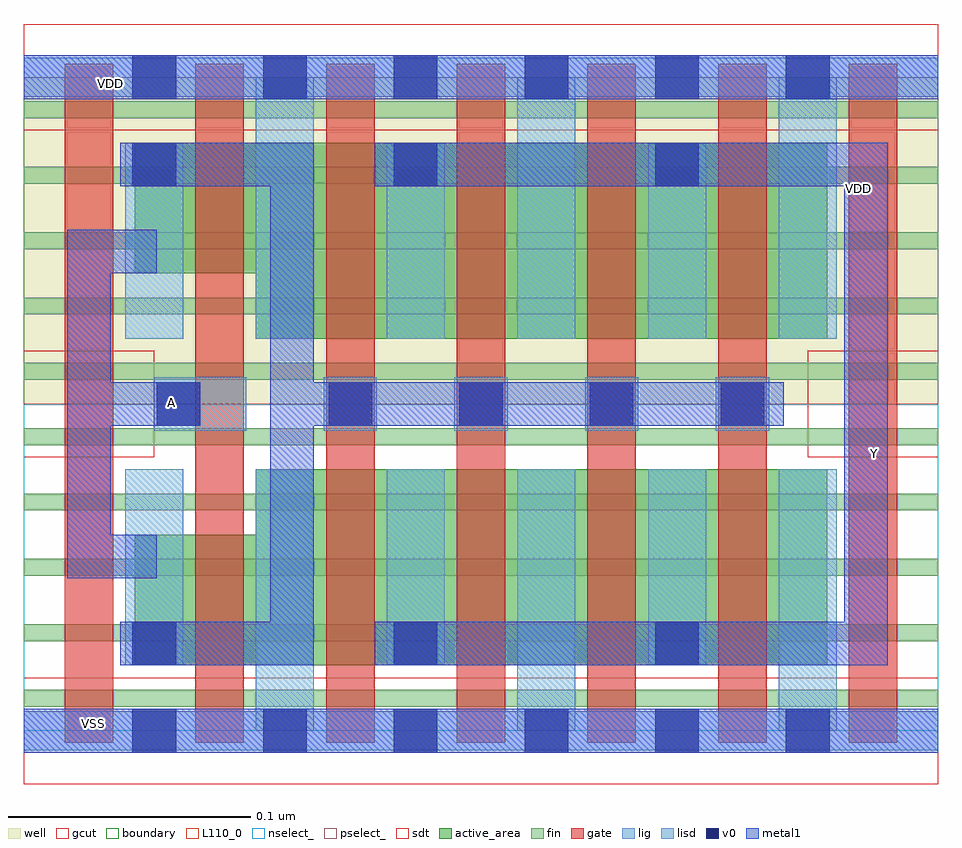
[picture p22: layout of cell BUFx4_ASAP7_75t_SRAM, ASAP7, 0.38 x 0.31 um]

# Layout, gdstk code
import gdstk
lib = gdstk.Library(unit=1e-6, precision=2.5e-10)
def R(c, l, rs):  # rectangles x0, y0, x1, y1
    for r in rs: c.add(gdstk.rectangle(r[:2], r[2:], *l))
def A(c, l, x, y, w, h, nx, ny, dx, dy):  # array of equal rectangles
    R(c, l, [(x+i*dx, y+j*dy, x+i*dx+w, y+j*dy+h) for i in range(nx) for j in range(ny)])
def P(c, l, *ps):  # polygons
    for p in ps: c.add(gdstk.Polygon(p, *l))
well = (1, 0)
fin = (2, 0)
gate = (7, 0)
gcut = (10, 0)
active_area = (11, 0)
nselect_ = (12, 0)
pselect_ = (13, 0)
lig = (16, 0)
lisd = (17, 0)
v0 = (18, 0)
metal1 = (19, 0)
sdt = (88, 0)
boundary = (100, 0)
L110_0 = (110, 0)

bufx4_asap7_75t_sram = lib.new_cell('BUFx4_ASAP7_75t_SRAM')
R(bufx4_asap7_75t_sram, well, [(0,0.135,0.378,0.27)])
A(bufx4_asap7_75t_sram, fin, 0, 0.01, 0.378, 0.007, 1, 10, 0, 0.027)
A(bufx4_asap7_75t_sram, gate, 0.017, -0.005, 0.02, 0.2805, 7, 1, 0.054, 0)
R(bufx4_asap7_75t_sram, gcut, [(0,-0.022,0.378,0.022), (0,0.113,0.054,0.157), (0.324,0.113,0.378,0.157), (0,0.248,0.378,0.292)])
P(bufx4_asap7_75t_sram, active_area, [(0.332,0.108),(0.096,0.108),(0.096,0.081),(0.046,0.081),(0.046,0.027),(0.332,0.027)],
  [(0.332,0.243),(0.046,0.243),(0.046,0.189),(0.096,0.189),(0.096,0.162),(0.332,0.162)])
R(bufx4_asap7_75t_sram, nselect_, [(0,0,0.378,0.135)])
R(bufx4_asap7_75t_sram, pselect_, [(0,0.135,0.378,0.27)])
A(bufx4_asap7_75t_sram, lig, 0.124, 0.124, 0.022, 0.022, 4, 1, 0.054, 0)
R(bufx4_asap7_75t_sram, lig, [(0,-0.008,0.378,0.008), (0.054,0.124,0.092,0.146), (0,0.262,0.378,0.278)])
A(bufx4_asap7_75t_sram, lisd, 0.096, 0, 0.024, 0.108, 3, 2, 0.108, 0.162)
A(bufx4_asap7_75t_sram, lisd, 0.042, 0.027, 0.024, 0.081, 3, 2, 0.108, 0.135)
A(bufx4_asap7_75t_sram, v0, 0.045, -0.009, 0.018, 0.018, 6, 2, 0.054, 0.27)
A(bufx4_asap7_75t_sram, v0, 0.045, 0.027, 0.018, 0.018, 3, 2, 0.108, 0.198)
A(bufx4_asap7_75t_sram, v0, 0.126, 0.126, 0.018, 0.018, 4, 1, 0.054, 0)
R(bufx4_asap7_75t_sram, v0, [(0.055,0.126,0.073,0.144)])
R(bufx4_asap7_75t_sram, metal1, [(0,-0.009,0.378,0.009), (0,0.261,0.378,0.279)])
P(bufx4_asap7_75t_sram, metal1, [(0.357,0.243),(0.145,0.243),(0.145,0.225),(0.339,0.225),(0.339,0.045),(0.145,0.045),(0.145,0.027),(0.357,0.027)],
  [(0.314,0.144),(0.12,0.144),(0.12,0.243),(0.04,0.243),(0.04,0.225),(0.102,0.225),(0.102,0.045),(0.04,0.045),(0.04,0.027),(0.12,0.027),(0.12,0.126),(0.314,0.126)],
  [(0.073,0.144),(0.036,0.144),(0.036,0.189),(0.055,0.189),(0.055,0.207),(0.018,0.207),(0.018,0.063),(0.055,0.063),(0.055,0.081),(0.036,0.081),(0.036,0.126),(0.073,0.126)])
A(bufx4_asap7_75t_sram, sdt, 0.042, 0.027, 0.024, 0.081, 6, 2, 0.054, 0.135)
R(bufx4_asap7_75t_sram, boundary, [(0,0,0.378,0.27)])
R(bufx4_asap7_75t_sram, L110_0, [(0,0,0.378,0.27)])
bufx4_asap7_75t_sram.add(gdstk.Label('Y', (0.3515,0.1145), layer=19, texttype=251))
bufx4_asap7_75t_sram.add(gdstk.Label('VDD', (0.036,0.2675), layer=19, texttype=251))
bufx4_asap7_75t_sram.add(gdstk.Label('VSS', (0.029,0.003), layer=19, texttype=251))
bufx4_asap7_75t_sram.add(gdstk.Label('A', (0.061,0.1355), layer=19, texttype=251))
bufx4_asap7_75t_sram.add(gdstk.Label('VDD', (0.345,0.224), layer=1, texttype=251))
bufx4_asap7_75t_sram.add(gdstk.Label('VSS', (0.414,0.223), layer=3, texttype=251))

lib.write_gds('BUFx4_ASAP7_75t_SRAM.gds')
